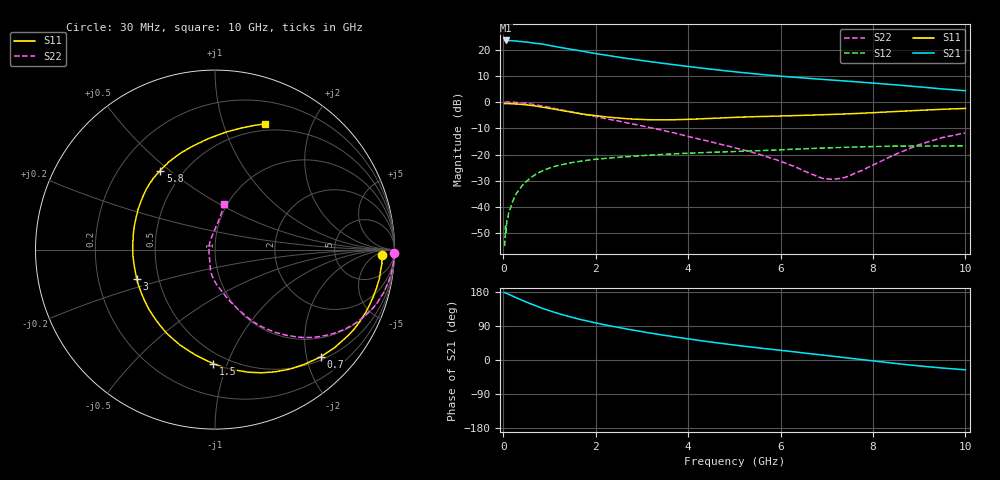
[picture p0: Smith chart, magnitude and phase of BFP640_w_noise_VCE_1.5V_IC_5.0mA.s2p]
! Infineon Technologies  Discrete & RF Semiconductors
! BFP640
! VCE =  1.5 V,  IC =  5.0 mA
! Common Emitter S-Parameters:  Apr 2013
# GHz  S  MA  R  50
!  f  S11  S21  S12  S22
! GHz  MAG  ANG  MAG  ANG  MAG  ANG  MAG  ANG
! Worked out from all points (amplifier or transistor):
!   99 points, 30 MHz to 10 GHz, reference 50 ohm
!   highest |S21| = 23.4 dB at 60 MHz (marker M1)
!   |S21| within 3 dB of that: start of sweep to 1.347 GHz
!   unconditionally stable (mu >= 1): 5.115 GHz to end of sweep
!   at 350 MHz: K = 0.05, MSG = 28.2 dB, |S12| = -33.4 dB
!   at 3.5 GHz: K = 0.82, MSG = 17.3 dB, |S12| = -19.9 dB
!   at 10 GHz: K = 1.15, MAG = 8.2 dB, |S12| = -16.7 dB
!   lowest NFmin = 0.54 dB at 450 MHz
!   S11 on the Smith chart (normalised r, x): 30 MHz: 23, -12; 700 MHz: 0.56, -2.27; 1.5 GHz: 0.42, -0.89; 3 GHz: 0.37, -0.16; 5.8 GHz: 0.38, +0.46; 10 GHz: 0.43, +1.39
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0.03  0.9335 -2.0  14.75 177.9  0.0018 84.7  0.9977 -1.2
0.05  0.9359 -3.3  14.85 177.2  0.0043 68.1  0.9979 -2.1
0.06  0.9315 -4.0  14.87 176.3  0.0033 63.3  0.996 -2.4
0.2  0.9251 -13.3  14.7 168.8  0.0124 84.1  0.9896 -8.3
0.4  0.9011 -26.4  14.18 158.1  0.0249 76.1  0.959 -16.3
0.6  0.8617 -39.3  13.52 148.0  0.0364 69.3  0.9121 -24.0
0.7  0.8391 -45.4  13.07 143.4  0.0418 65.7  0.8852 -27.5
0.8  0.8103 -52.1  12.87 138.5  0.0467 62.7  0.8541 -30.9
1  0.759 -63.8  11.97 130.2  0.0553 56.7  0.7914 -36.9
1.3  0.6805 -80.5  10.72 118.8  0.0651 48.9  0.6977 -44.6
1.5  0.6357 -90.8  9.961 112.3  0.0707 44.8  0.6447 -48.4
1.7  0.5946 -101.2  9.315 106.1  0.0751 41.2  0.5931 -52.1
2.3  0.5131 -129.5  7.608 90.3  0.0857 32.8  0.4668 -61.2
3  0.4663 -159.2  6.161 75.0  0.0954 25.5  0.3523 -69.2
3.4  0.4587 -175.4  5.536 66.9  0.0999 22.1  0.296 -74.2
4.1  0.4707 160.7  4.642 54.1  0.1067 16.5  0.21 -84.4
5.1  0.5134 136.4  3.7 38.0  0.1151 9.8  0.1285 -100.1
5.8  0.5357 124.7  3.222 28.2  0.1209 5.9  0.0848 -109.0
6.7  0.5651 111.7  2.788 15.9  0.1305 0.2  0.0415 -141.8
7.4  0.5926 100.9  2.51 6.2  0.1373 -4.8  0.0369 152.6
8.5  0.66 84.2  2.119 -9.3  0.1445 -13.5  0.1021 92.7
10  0.7548 68.2  1.641 -25.9  0.146 -22.8  0.2588 79.1
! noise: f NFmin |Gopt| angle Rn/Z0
0.45  0.54  0.45  12  0.1
0.9  0.56  0.45  21  0.1
1.5  0.59  0.39  33  0.1
1.9  0.64  0.34  51  0.1
2.4  0.69  0.31  58  0.1
3.5  0.84  0.26  84  0.09
5.5  1.1  0.28  -156  0.11
10  1.81  0.63  -65  0.45
